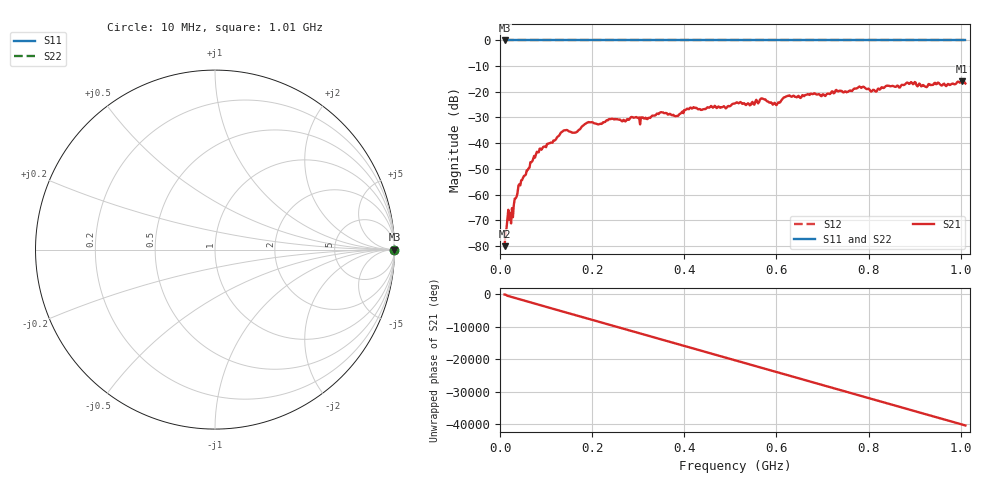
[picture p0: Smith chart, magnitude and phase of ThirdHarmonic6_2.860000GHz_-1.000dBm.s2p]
! 8/17/2025 7:47:10 AM
! C:\ANRITSUVNA\TEMP\TEMP.S2P
! CHANNEL.1
! TR.MEASUREMENT
! RAW.DATA
! RF.CORRECTION.OFF
! AVERAGING.OFF
! IF.BANDWIDTH: 5KHZ
! SWEEPTYPE:  FREQ.SWEEP(Linear)
! Reference Plane Port Info
! PORT:  PORT1  PORT2
! DISTANCE:  0  m  0  m
! TIME:  0  s  0  s
! PHASE.OFFSET:  0  deg.  0  deg.
! LOSS:  0  dB  0  dB
! REF.LOSS:  0  dB  0  dB
! REF.FREQ:  0  Hz  0  Hz
! Power Info
! POWER:  -20  dBm  -20  dBm
! EFF.POWER:  -20  dBm  -20  dBm
! SOURCE.ATTEN:  0  dB  0  dB
! TEST.ATTEN:  0  dB  0  dB
# GHZ S RI R 50.0
! FREQ.GHZ  S11RE  S11IM  S21RE  S21IM  S12RE  S12IM  S22RE  S22IM
!; PortSelection: Port_12
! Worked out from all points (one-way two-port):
!   501 points, 10 MHz to 1.01 GHz, reference 50 ohm
!   highest |S21| = -15.91 dB at 1.002 GHz (marker M1); lowest = -80.1 dB at 10 MHz (marker M2)
!   lowest |S11| = 0.0 dB at 10 MHz (marker M3)
!   |S11| at or under -10 dB: nowhere
!   |S22| runs from 0.0 to 0.0 dB; largest |S21 - S12| = 1.2
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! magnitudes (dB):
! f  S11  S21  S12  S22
! 10 MHz  0.0  -80.1  0.0  0.0
! 18 MHz  0.0  -65.9  0.0  0.0
! 24 MHz  0.0  -71.3  0.0  0.0
! 44 MHz  0.0  -56.4  0.0  0.0
! 78 MHz  0.0  -44.4  0.0  0.0
! 136 MHz  0.0  -35.4  0.0  0.0
! 162 MHz  0.0  -35.9  0.0  0.0
! 178 MHz  0.0  -33.5  0.0  0.0
! 344 MHz  0.0  -28.7  0.0  0.0
! 382 MHz  0.0  -29.5  0.0  0.0
! 410 MHz  0.0  -26.8  0.0  0.0
! 510 MHz  0.0  -24.5  0.0  0.0
! 540 MHz  0.0  -24.7  0.0  0.0
! 570 MHz  0.0  -22.6  0.0  0.0
! 596 MHz  0.0  -24.3  0.0  0.0
! 624 MHz  0.0  -21.6  0.0  0.0
! 678 MHz  0.0  -20.9  0.0  0.0
! 784 MHz  0.0  -18.5  0.0  0.0
! 814 MHz  0.0  -19.7  0.0  0.0
! 844 MHz  0.0  -17.7  0.0  0.0
! 1.002 GHz  0.0  -15.9  0.0  0.0
! 1.01 GHz  0.0  -16.7  0.0  0.0
